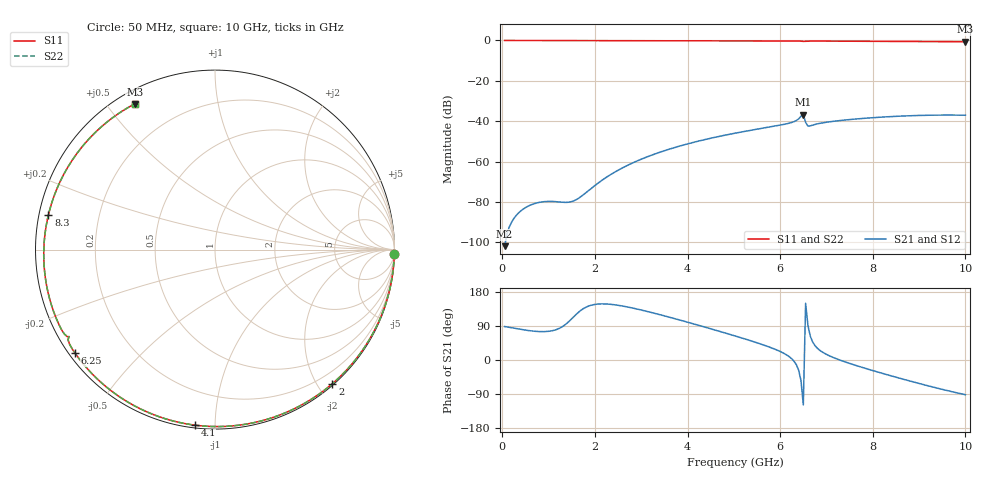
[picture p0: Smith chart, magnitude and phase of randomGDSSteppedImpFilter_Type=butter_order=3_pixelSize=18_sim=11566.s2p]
! freq	dB(S11)	phase(S11)	dB(S12)	phase(S12)
!  dB(S21)	phase(S21)	dB(S22)	phase(S22)
!S-par simulation data
#  GHz  S  DB  R 50
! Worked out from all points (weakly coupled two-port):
!   200 points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, 50 MHz to 10 GHz, reference 50 ohm
!   highest |S21| = -36.74 dB at 6.5 GHz (marker M1); lowest = -101.8 dB at 50 MHz (marker M2)
!   lowest |S11| = -0.7 dB at 10 GHz (marker M3), VSWR 26.34, Z = 2.56 + j29.5 ohm
!   |S11| at or under -10 dB: nowhere
!   |S22| runs from -0.7 to 0.0 dB; largest |S21 - S12| = 0
!   S11 on the Smith chart (normalised r, x): 50 MHz: 2, -91; 2 GHz: 0.02, -2.21; 4.1 GHz: 0.01, -0.89; 6.25 GHz: 0.02, -0.33; 8.3 GHz: 0.03, +0.10; 10 GHz: 0.05, +0.59
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0.05  -0.00 -1.3  -101.84 88.3  -101.84 88.3  -0.00 -1.3
0.75  -0.02 -18.6  -80.41 75.4  -80.41 75.4  -0.02 -18.6
1.45  -0.05 -35.6  -80.02 102.9  -80.02 102.9  -0.05 -35.6
1.6  -0.05 -39.2  -78.78 120.9  -78.78 120.9  -0.05 -39.2
1.75  -0.05 -42.8  -76.40 135.4  -76.40 135.4  -0.05 -42.8
2  -0.06 -48.8  -71.80 146.7  -71.80 146.7  -0.06 -48.8
2.3  -0.07 -55.8  -66.96 147.4  -66.96 147.4  -0.07 -55.8
2.6  -0.08 -62.8  -63.03 142.3  -63.03 142.3  -0.08 -62.8
3.4  -0.11 -81.0  -55.36 119.7  -55.36 119.7  -0.11 -81.0
4.1  -0.13 -96.6  -50.61 96.4  -50.61 96.4  -0.14 -96.6
5.05  -0.18 -117.2  -45.80 62.6  -45.80 62.6  -0.18 -117.3
6.25  -0.27 -143.6  -40.60 3.3  -40.60 3.3  -0.27 -143.6
6.35  -0.28 -145.9  -39.64 -12.5  -39.64 -12.5  -0.28 -145.9
6.5  -0.47 -149.2  -36.74 -118.4  -36.74 -118.4  -0.48 -149.2
6.55  -0.41 -149.4  -40.55 149.6  -40.55 149.6  -0.41 -149.4
6.6  -0.34 -150.6  -42.38 91.5  -42.38 91.5  -0.34 -150.6
6.7  -0.31 -153.0  -41.93 47.9  -41.93 47.9  -0.31 -153.1
7.5  -0.38 -171.8  -39.16 -9.1  -39.16 -9.1  -0.38 -171.8
8.3  -0.46 168.3  -37.80 -38.5  -37.80 -38.5  -0.46 168.3
8.35  -0.47 167.0  -37.74 -40.2  -37.74 -40.2  -0.47 167.0
9.2  -0.57 143.6  -37.02 -68.3  -37.02 -68.3  -0.57 143.5
10  -0.66 118.8  -37.01 -91.6  -37.01 -91.6  -0.66 118.7
